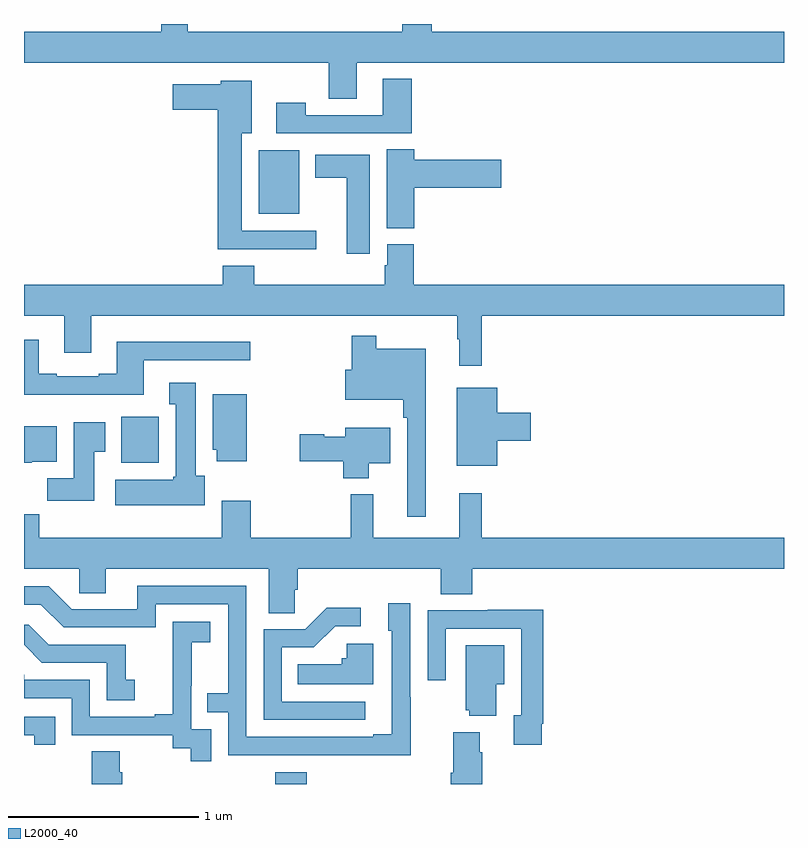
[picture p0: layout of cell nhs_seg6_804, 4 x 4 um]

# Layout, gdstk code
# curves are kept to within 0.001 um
import gdstk
lib = gdstk.Library(unit=1e-6, precision=1e-09)
def R(c, l, rs):  # rectangles x0, y0, x1, y1
    for r in rs: c.add(gdstk.rectangle(r[:2], r[2:], *l))
def P(c, l, *ps):  # polygons
    for p in ps: c.add(gdstk.Polygon(p, *l))
L2000_40 = (2000, 40)

nhs_seg6_804 = lib.new_cell('nhs_seg6_804')
R(nhs_seg6_804, L2000_40, [(162.323,983.5,162.488,983.563), (161.513,985.19,161.71,985.432), (162.236,986.501,162.448,986.836)])
P(nhs_seg6_804, L2000_40, [(162.751,987.296),(165,987.296),(165,987.46),(163.145,987.46),(163.145,987.5),(162.992,987.5),(162.992,987.46),(161.863,987.46),(161.863,987.5),(161.723,987.5),(161.723,987.46),(161,987.46),(161,987.296),(162.604,987.296),(162.604,987.106),(162.751,987.106)],
  [(163.04,987.211),(162.887,987.211),(162.887,987.021),(162.483,987.021),(162.483,987.085),(162.327,987.085),(162.327,986.925),(163.04,986.925)],
  [(162.538,986.412),(162.145,986.412),(162.145,986.924),(162.199,986.924),(162.199,987.202),(162.036,987.202),(162.036,987.184),(161.784,987.184),(161.784,987.05),(162.02,987.05),(162.02,986.315),(162.538,986.315)],
  [(163.055,986.639),(163.513,986.639),(163.513,986.786),(163.055,986.786),(163.055,986.84),(162.908,986.84),(162.908,986.425),(163.055,986.425)],
  [(162.82,986.812),(162.533,986.812),(162.533,986.69),(162.698,986.69),(162.698,986.292),(162.82,986.292)],
  [(163.409,985.964),(165,985.964),(165,986.128),(163.052,986.128),(163.052,986.34),(162.911,986.34),(162.911,986.229),(162.899,986.229),(162.899,986.128),(162.212,986.128),(162.212,986.227),(162.047,986.227),(162.047,986.128),(161,986.128),(161,985.964),(161.213,985.964),(161.213,985.77),(161.353,985.77),(161.353,985.964),(163.281,985.964),(163.281,985.841),(163.292,985.841),(163.292,985.701),(163.409,985.701)],
  [(163.114,985.792),(162.853,985.792),(162.853,985.858),(162.724,985.858),(162.724,985.681),(162.69,985.681),(162.69,985.523),(162.997,985.523),(162.997,985.427),(163.017,985.427),(163.017,984.906),(163.114,984.906)],
  [(161.629,985.731),(162.19,985.731),(162.19,985.828),(161.489,985.828),(161.489,985.66),(161.393,985.66),(161.393,985.647),(161.173,985.647),(161.173,985.66),(161.077,985.66),(161.077,985.837),(161,985.837),(161,985.55),(161.629,985.55)],
  [(161.95,985.122),(161.905,985.122),(161.905,985.612),(161.765,985.612),(161.765,985.499),(161.798,985.499),(161.798,985.116),(161.785,985.116),(161.785,985.102),(161.481,985.102),(161.481,984.968),(161.95,984.968)],
  [(163.492,985.307),(163.666,985.307),(163.666,985.454),(163.492,985.454),(163.492,985.585),(163.277,985.585),(163.277,985.175),(163.492,985.175)],
  [(162.172,985.552),(161.993,985.552),(161.993,985.26),(162.014,985.26),(162.014,985.2),(162.172,985.2)],
  [(161.371,985.249),(161.428,985.249),(161.428,985.405),(161.261,985.405),(161.261,985.108),(161.122,985.108),(161.122,984.99),(161.371,984.99)],
  [(161.04,985.196),(161.173,985.196),(161.173,985.384),(161,985.384),(161,985.19),(161.04,985.19)],
  [(162.814,985.187),(162.928,985.187),(162.928,985.375),(162.692,985.375),(162.692,985.327),(162.579,985.327),(162.579,985.34),(162.45,985.34),(162.45,985.198),(162.68,985.198),(162.68,985.109),(162.814,985.109)],
  [(162.426,984.523),(162.44,984.523),(162.44,984.632),(163.193,984.632),(163.193,984.499),(163.358,984.499),(163.358,984.632),(165,984.632),(165,984.796),(163.409,984.796),(163.409,985.03),(163.292,985.03),(163.292,984.796),(162.839,984.796),(162.839,985.024),(162.721,985.024),(162.721,984.796),(162.194,984.796),(162.194,984.991),(162.041,984.991),(162.041,984.796),(161.081,984.796),(161.081,984.92),(161,984.92),(161,984.632),(161.292,984.632),(161.292,984.505),(161.431,984.505),(161.431,984.632),(162.287,984.632),(162.287,984.4),(162.426,984.4)],
  [(163.035,983.957),(163.032,983.957),(163.032,984.451),(162.917,984.451),(162.917,984.306),(162.936,984.306),(162.936,983.761),(162.839,983.761),(162.839,983.748),(162.171,983.748),(162.171,984.543),(161.597,984.543),(161.597,984.42),(161.25,984.42),(161.13,984.54),(161,984.54),(161,984.444),(161.088,984.444),(161.208,984.324),(161.694,984.324),(161.694,984.447),(162.075,984.447),(162.075,983.978),(161.965,983.978),(161.965,983.877),(162.075,983.877),(162.075,983.652),(163.035,983.651)],
  [(162.796,983.934),(162.357,983.934),(162.357,984.219),(162.526,984.219),(162.637,984.33),(162.772,984.33),(162.772,984.428),(162.593,984.428),(162.48,984.315),(162.261,984.315),(162.261,983.838),(162.796,983.838)],
  [(163.726,983.818),(163.733,983.818),(163.733,984.416),(163.441,984.416),(163.441,984.414),(163.125,984.414),(163.125,984.045),(163.221,984.045),(163.221,984.318),(163.617,984.318),(163.617,983.862),(163.577,983.862),(163.577,983.706),(163.726,983.706)],
  [(161.985,983.787),(161.88,983.787),(161.88,984.017),(161.882,984.017),(161.882,984.245),(161.98,984.245),(161.98,984.355),(161.782,984.355),(161.782,984.149),(161.783,984.149),(161.783,983.866),(161.687,983.866),(161.687,983.853),(161.346,983.853),(161.346,984.048),(161.001,984.048),(161.001,984.075),(161,984.075),(161,983.952),(161.25,983.952),(161.25,983.757),(161.784,983.757),(161.784,983.689),(161.877,983.689),(161.877,983.619),(161.985,983.619)],
  [(161.584,984.049),(161.535,984.049),(161.535,984.234),(161.131,984.234),(161.026,984.339),(161,984.339),(161,984.232),(161.094,984.138),(161.436,984.138),(161.436,983.94),(161.584,983.94)],
  [(162.838,984.238),(162.699,984.238),(162.699,984.162),(162.673,984.162),(162.673,984.13),(162.442,984.13),(162.442,984.026),(162.838,984.026)],
  [(163.486,984.026),(163.528,984.026),(163.528,984.229),(163.325,984.229),(163.325,983.889),(163.343,983.889),(163.343,983.858),(163.486,983.858)],
  [(161.165,983.853),(161,983.853),(161,983.757),(161.054,983.757),(161.054,983.706),(161.165,983.706)],
  [(163.412,983.666),(163.399,983.666),(163.399,983.773),(163.259,983.773),(163.259,983.56),(163.247,983.56),(163.247,983.5),(163.412,983.5)],
  [(161.516,983.562),(161.503,983.562),(161.503,983.672),(161.356,983.672),(161.356,983.5),(161.516,983.5)])

lib.write_gds('nhs_seg6_804.gds')
